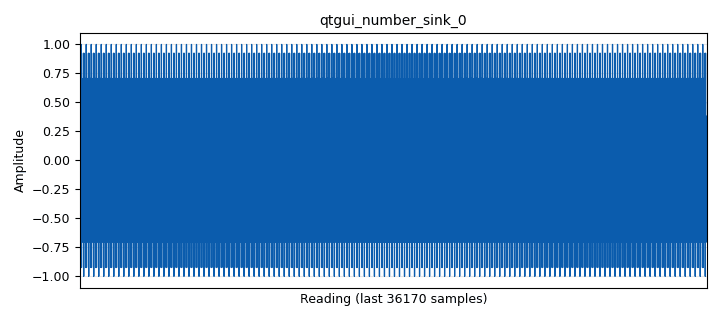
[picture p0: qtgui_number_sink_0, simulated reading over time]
options:
  parameters:
    description: Adapted from GNU Radio's own example (gr-qtgui/examples/Number_Sink.grc).
    generate_options: qt_gui
    id: Number_Sink
    output_language: cpp
    title: Number Sink Demo
  states: {}

blocks:
- name: freq
  id: variable
  parameters:
    value: '0.1'
  states: {}
- name: samp_rate
  id: variable
  parameters:
    value: '32000'
  states: {}
- name: analog_sig_source_x_0
  id: analog_sig_source_x
  parameters:
    offset: '0'
    phase: '0'
    samp_rate: samp_rate
    type: float
    waveform: analog.GR_COS_WAVE
    frequency: freq
    amplitude: '1'
  states: {}
- name: blocks_throttle_0
  id: blocks_throttle2
  parameters:
    samples_per_second: samp_rate
    type: float
    limit: time
  states: {}
- name: qtgui_number_sink_0
  id: qtgui_number_sink
  parameters:
    graph_type: qtgui.NUM_GRAPH_VERT
    type: float
  states: {}

connections:
- [analog_sig_source_x_0, '0', blocks_throttle_0, '0']
- [blocks_throttle_0, '0', qtgui_number_sink_0, '0']

metadata:
  file_format: 1
